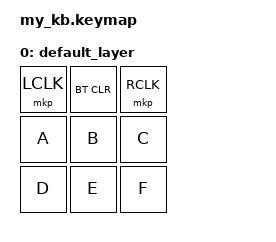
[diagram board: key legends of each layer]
#include <behaviors.dtsi>
#include <dt-bindings/zmk/keys.h>
#include <dt-bindings/zmk/bt.h>
#include <dt-bindings/zmk/mouse.h> 




/ {
    keymap {
        compatible = "zmk,keymap";
        default_layer {
            bindings = <
                &mkp LCLK    &bt BT_CLR    &mkp RCLK
                &kp A        &kp B         &kp C
                &kp D        &kp E        &kp F
            >;
        };
    };
};
